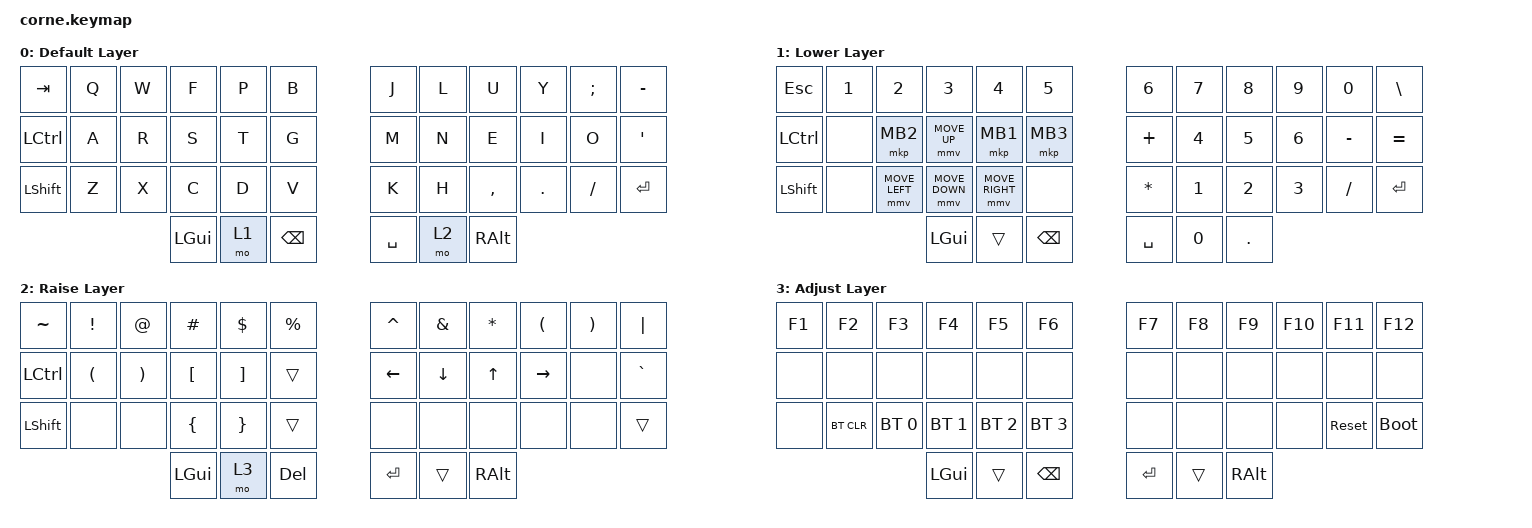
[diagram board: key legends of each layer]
/*
 * Copyright (c) 2020 The ZMK Contributors
 *
 * SPDX-License-Identifier: MIT
 */

#include <behaviors.dtsi>
#include <dt-bindings/zmk/keys.h>
#include <dt-bindings/zmk/bt.h>
#include <dt-bindings/zmk/pointing.h>

/ {
        keymap {
                compatible = "zmk,keymap";

                default_layer {
                        display-name = "Default Layer";
// -----------------------------------------------------------------------------------------
// |  TAB |  Q  |  W  |  F  |  P  |  B  |   |  J  |  L   |  U  |  Y  |  :  |  -  |
// | CTRL |  A  |  R  |  S  |  T  |  G  |   |  M  |  N   |  E  |  I  |  O  |  '  |
// | SHFT |  Z  |  X  |  C  |  D  |  V  |   |  K  |  H   |  ,  |  .  |  /  | ENT |
//                    | GUI | LWR | BSP |   | SPC | RSE  | ALT |
                        bindings = <
   &kp TAB   &kp Q &kp W &kp F &kp P &kp B   &kp J &kp L  &kp U     &kp Y   &kp SEMI &kp MINUS
   &kp LCTRL &kp A &kp R &kp S &kp T &kp G   &kp M &kp N  &kp E     &kp I   &kp O    &kp SQT
   &kp LSHFT &kp Z &kp X &kp C &kp D &kp V   &kp K &kp H  &kp COMMA &kp DOT &kp FSLH &kp RET
                  &kp LGUI &mo 1 &kp BSPC  &kp SPACE &mo 2 &kp RALT
                        >;
                };
                lower_layer {
                        display-name = "Lower Layer";
// -----------------------------------------------------------------------------------------
// |  ESC |  1  |  2  |  3  |  4  |  5  |   |  6  |  7  |  8  |  9  |  0  |  \  |
// | CTRL |     |  M2 | MUP |  M1 |  M3 |   |  +  |  4  |  5  |  6  |  -  |  =  |
// | SHFT |     | MLF | MDN | MRT |     |   |  *  |  1  |  2  |  3  |  /  |     |
//                    | GUI |     | BSP |   |     |  0  |  .  |
                        bindings = <
   &kp ESC    &kp N1  &kp N2         &kp N3         &kp N4          &kp N5         &kp N6    &kp N7   &kp N8 &kp N9   &kp N0    &kp BSLH
   &kp LCTRL  &none   &mkp MB2       &mmv MOVE_UP   &mkp MB1        &mkp MB3       &kp PLUS  &kp N4   &kp N5 &kp N6   &kp MINUS &kp EQUAL
   &kp LSHFT  &none   &mmv MOVE_LEFT &mmv MOVE_DOWN &mmv MOVE_RIGHT &none          &kp ASTRK &kp N1   &kp N2 &kp N3   &kp FSLH  &kp RET
                                        &kp LGUI     &trans       &kp BSPC       &kp SPACE &kp N0   &kp DOT
                        >;
                };

                raise_layer {
                      display-name = "Raise Layer";
// -----------------------------------------------------------------------------------------
// |   ~  |  !  |  @  |  #  |  $  |  %  |   |  ^  |  &  |  *  |  (  |  )  |  |  |
// | CTRL |  (  |  )  |  [  |  ]  |     |   | LFT | DWN | UP  | RGT |     |  `  |
// | SHFT |     |     |  {  |  }  |     |   |     |     |     |     |     |     |
//                    | GUI | ADJ | DEL |   | ENT |     | ALT |
                        bindings = <
   &kp TILDE &kp EXCL &kp AT   &kp HASH &kp DLLR &kp PRCNT   &kp CARET &kp AMPS  &kp ASTRK &kp LPAR  &kp RPAR &kp PIPE
   &kp LCTRL &kp LPAR &kp RPAR &kp LBKT &kp RBKT &trans      &kp LEFT  &kp DOWN  &kp UP    &kp RIGHT &none    &kp GRAVE
   &kp LSHFT &none    &none    &kp LBRC &kp RBRC &trans      &none     &none     &none     &none     &none    &trans
                             &kp LGUI &mo 3   &kp DEL   &kp RET   &trans    &kp RALT
                        >;
                };

adjust_layer {
                      display-name = "Adjust Layer";
// -----------------------------------------------------------------------------------------
// |  F1  |  F2 |  F3 |  F4 |  F5 |  F6 |   |  F7 |  F8 |  F9 | F10 | F11 | F12 |
// |      |     |     |     |     |     |   |     |     |     |     |     |     |
// |      |BTCLR| BT0 | BT1 | BT2 | BT3 |   |     |     |     |     |reset|btldr|
//                    | GUI |     | SPC |   | ENT |     | ALT |
                        bindings = <
   &kp F1 &kp F2       &kp F3       &kp F4       &kp F5       &kp F6            &kp F7 &kp F8 &kp F9 &kp F10 &kp F11    &kp F12 
   &none  &none        &none        &none        &none        &none             &none  &none  &none  &none   &none       &none  
   &none  &bt BT_CLR   &bt BT_SEL 0 &bt BT_SEL 1 &bt BT_SEL 2 &bt BT_SEL 3      &none  &none  &none  &none   &sys_reset  &bootloader  
                 &kp LGUI &trans  &kp BSPC       &kp RET   &trans    &kp RALT
                        >;
                };

        };
};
